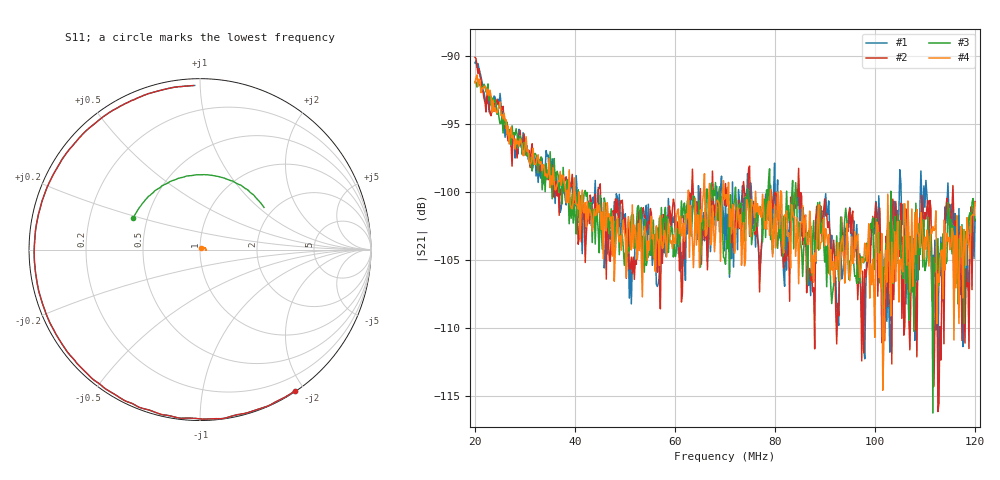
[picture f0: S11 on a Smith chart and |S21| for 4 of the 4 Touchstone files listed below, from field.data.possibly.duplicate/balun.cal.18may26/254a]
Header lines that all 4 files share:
! Anritsu VNA Master:  Model: MS2036C/10/77
! SN:  1601066
! Existing Calibration Information:
! TYPE:  Current Settings,  Active Cal Settings
! # POINTS:  500,  500
! START FREQ:  20.000 MHz,  20.000 MHz
! STOP FREQ:  120.000 MHz,  120.000 MHz
! SOURCE POWER:  High,  High
! IFBW:  50 Hz,  50 Hz
! AVG FACTOR:  1 ,  1
! REF PLANE 1:  0 mm,  0 mm
! REF PLANE 2:  0 mm,  0 mm
! CAL TYPE:  Full S11,  Full S11
! CAL METHOD:  SOLT,  SOLT
! CAL LINE TYPE:  Coax,  Coax
! DUT PORT 1:  K-Conn(M),  K-Conn(M)
! DUT PORT 2:  K-Conn(M),  K-Conn(M)
! CAL STATUS:  OK: Accuracy High,  --
# GHZ S DB R 50.0
! FREQ.GHZ  S11DB  S11A  S21DB  S21A  S12DB  S12A  S22DB  S22A
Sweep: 20 MHz to 120 MHz
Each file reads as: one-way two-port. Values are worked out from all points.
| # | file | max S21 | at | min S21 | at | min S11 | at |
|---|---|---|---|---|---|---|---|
| 1 | 4a.47.1-2.s2p | -90.38 dB | 20.2 MHz | -114.9 dB | 112.6 MHz | -0.4 dB | 107 MHz |
| 2 | 4a.47.2-3.s2p | -90.10 dB | 20 MHz | -116.1 dB | 112.6 MHz | -0.4 dB | 105.6 MHz |
| 3 | 4a.r20.1-2.s2p | -91.91 dB | 20 MHz | -116.2 dB | 111.6 MHz | -7.3 dB | 28.22 MHz |
| 4 | 4a.r50.2-3.s2p | -91.40 dB | 20.4 MHz | -114.6 dB | 101.6 MHz | -39.1 dB | 20 MHz |
